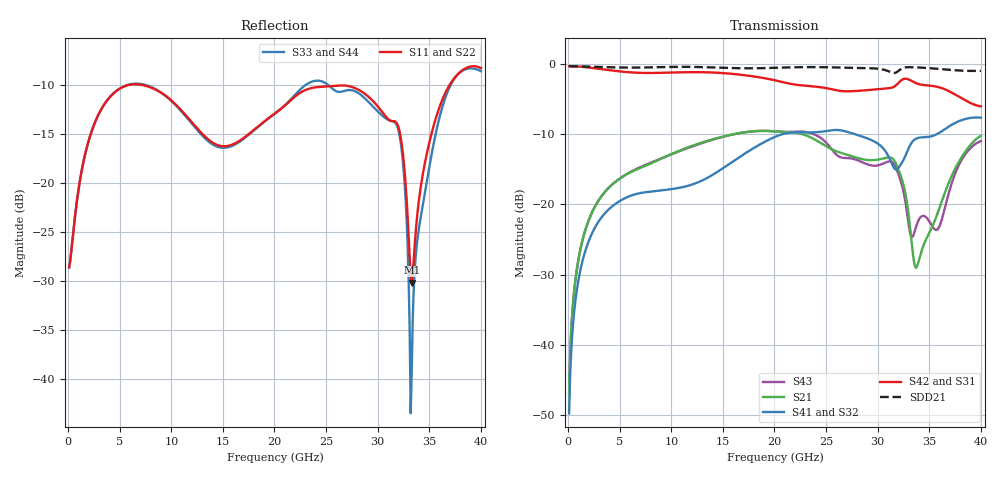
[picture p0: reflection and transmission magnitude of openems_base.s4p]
! P_ts6_finger_diff: gold-finger pair 0.7 × 2.1 mm, pitch 1 mm, between GND fingers (gap 0.3 mm), every plane cut back
! stackup: ThunderScope Rev5.3 6-layer (FR408HR / FR-4, from the board file)
! ports: 1 P near, 2 N near, 3 P far, 4 N far
! openEMS 0.37.0, staircase, base mesh (dfine 0.035 mm), 1486968 cells
# Hz S RI R 50
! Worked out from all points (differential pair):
!   400 points, 100 MHz to 40 GHz, reference 50 ohm
!   strongest paths, dB at 100 MHz, 10.1 GHz, 20.1 GHz, 30.1 GHz, 40 GHz:
!     S42: -0.3, -1.2, -2.4, -3.6, -6.0
!     S31: -0.3, -1.2, -2.4, -3.6, -6.0
!     S41: -49.8, -17.8, -10.4, -11.4, -7.7
!     S32: -49.8, -17.8, -10.4, -11.4, -7.7
!     S21: -47.0, -12.8, -9.6, -13.6, -10.2
!     S43: -47.0, -12.8, -9.6, -14.4, -11.0
!   taken as a pair (ports 2,1 in; 4,3 out), SDD21 dB: -0.3, -0.4, -0.6, -0.7, -1.0
!   lowest |S11| = -30.2 dB at 33.3 GHz (marker M1), VSWR 1.06, Z = 47.8 + j2.03 ohm
!   |S11| at or under -10 dB: start of sweep to 5.904 GHz; 7.121 GHz to 36.98 GHz (29.85 GHz wide, 135 % of centre)
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1e8  -0.0356 0.00975  0.00193 0.00403  0.963 -0.0306  0.00125 -0.003
     0.00193 0.00403  -0.0356 0.00975  0.00125 -0.003  0.963 -0.0306
     0.963 -0.0306  0.00125 -0.003  -0.0356 0.00975  0.00192 0.00404
     0.00125 -0.003  0.963 -0.0306  0.00192 0.00404  -0.0356 0.00975
2.2e9  0.0889 0.154  0.0627 0.0555  0.7256 -0.5958  -0.0481 -0.035
       0.0627 0.0555  0.0889 0.154  -0.0481 -0.035  0.7256 -0.5958
       0.7256 -0.5957  -0.0481 -0.035  0.0888 0.1541  0.0626 0.0556
       -0.0481 -0.035  0.7256 -0.5957  0.0626 0.0556  0.0888 0.1541
9.8e9  0.0578 -0.2626  0.0255 -0.2233  -0.8307 -0.2482  0.047 0.1189
       0.0255 -0.2233  0.0578 -0.2626  0.047 0.1189  -0.8307 -0.2482
       -0.8306 -0.2482  0.0467 0.1189  0.0543 -0.2622  0.0223 -0.2228
       0.0467 0.1189  -0.8306 -0.2482  0.0223 -0.2228  0.0543 -0.2622
2.07e10  0.0733 0.2288  0.00353 0.3281  0.7337 0.129  -0.1065 -0.2953
         0.00353 0.3281  0.0733 0.2288  -0.1065 -0.2953  0.7337 0.129
         0.7337 0.129  -0.1059 -0.2966  0.068 0.2306  -0.00101 0.3288
         -0.1059 -0.2966  0.7337 0.129  -0.00101 0.3288  0.068 0.2306
3.18e10  0.0823 -0.1859  -0.0228 -0.1921  -0.6598 -0.2537  0.1262 0.1279
         -0.0228 -0.1921  0.0823 -0.1859  0.1262 0.1279  -0.6598 -0.2537
         -0.6599 -0.2537  0.1215 0.1284  0.094 -0.1758  -0.00616 -0.1806
         0.1215 0.1284  -0.6599 -0.2537  -0.00616 -0.1806  0.094 -0.1758
3.33e10  -0.0224 0.0212  -0.0337 -0.0409  -0.7323 0.1862  0.2115 0.1746
         -0.0337 -0.0409  -0.0224 0.0212  0.2115 0.1746  -0.7323 0.1862
         -0.732 0.1865  0.2147 0.1725  0.0109 0.00182  -0.00361 -0.0581
         0.2147 0.1725  -0.732 0.1865  -0.00361 -0.0581  0.0109 0.00182
4e10  0.1029 -0.371  -0.1561 -0.265  0.3013 0.3971  -0.0941 -0.3978
      -0.1561 -0.265  0.1029 -0.371  -0.0941 -0.3978  0.3013 0.3971
      0.3015 0.3972  -0.0903 -0.4041  0.1187 -0.352  -0.1426 -0.2438
      -0.0903 -0.4041  0.3015 0.3972  -0.1426 -0.2438  0.1187 -0.352
